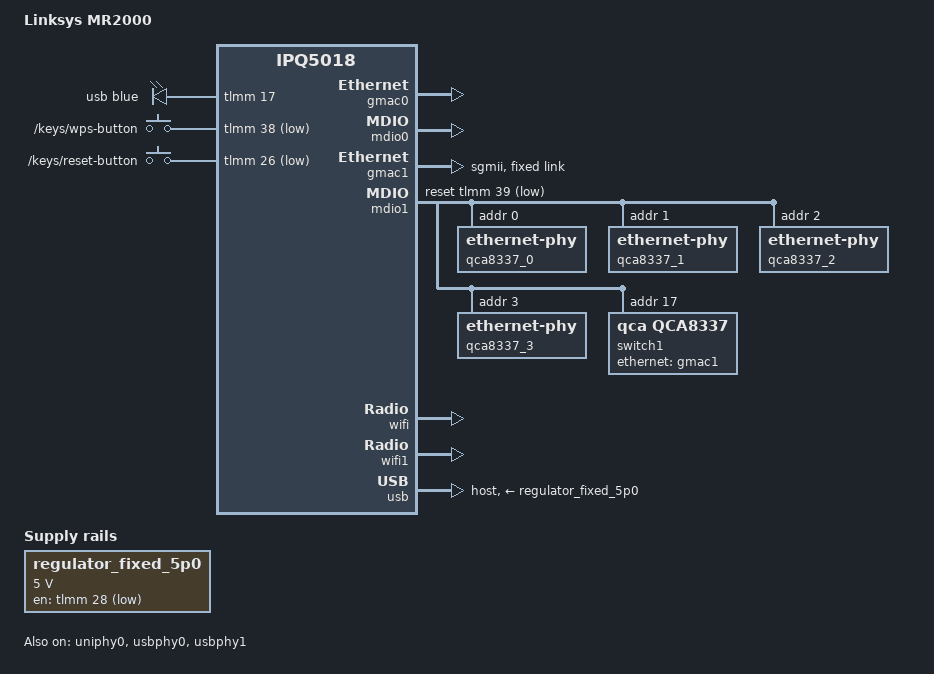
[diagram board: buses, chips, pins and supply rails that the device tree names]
/dts-v1/;

#include "ipq5018.dtsi"
#include "ipq5018-ess.dtsi"
#include "ipq5018-mx-base.dtsi"
#include "ipq5018-qcn6122.dtsi"

/ {
	model = "Linksys MR2000";
	compatible = "linksys,mr2000", "qcom,ipq5018";

	chosen {
		bootargs-append = " root=/dev/ubiblock0_0 coherent_pool=2M";
		stdout-path = "serial0:115200n8";
	};

	gpio-leds {
		compatible = "gpio-leds";

		usb {
			color = <LED_COLOR_ID_BLUE>;
			function = LED_FUNCTION_USB;
			gpios = <&tlmm 17 GPIO_ACTIVE_HIGH>;
			trigger-sources = <&usb_port1>;
			linux,default-trigger = "usbport";
		};
	};

	regulator_fixed_5p0: regulator-s0500 {
		compatible = "regulator-fixed";
		regulator-min-microvolt = <5000000>;
		regulator-max-microvolt = <5000000>;
		regulator-name = "fixed_5p0";
		gpios = <&tlmm 28 GPIO_ACTIVE_LOW>;
	};
};

/*
 * ===============================================================
 *     _______________________         _______________________
 *    |        IPQ5018        |       |        QCA8337        |
 *    | +------+   +--------+ |       | +--------+   +------+ |
 *    | | MAC0 |---| GE Phy | |       | |  Phy0  |---| MAC1 | |
 *    | +------+   +--------+ |       | +--------+   +------+ |
 *    | +------+   +--------+ |       | +--------+   +------+ |
 *    | | MAC1 |---| Uniphy |-+-SGMII-+-| SerDes |---| MAC6 | |
 *    | +------+   +--------+ |       | +--------+   +------+ |
 *    |_______________________|       |_______________________|
 *
 * ===============================================================
 */

&uniphy0 {
	status = "okay";

	assigned-clocks = <&uniphy0 UNIPHY_CLK_REF>;
	assigned-clock-rates = <UNIPHY_REFCLK_25MHZ>;
};

/* WAN: IPQ5018 MAC0 -> internal GE PHY7 */
&gmac0 {
	status = "okay";
	label = "wan";

	nvmem-cells = <&hw_mac_addr 0>;
	nvmem-cell-names = "mac-address";
};

&mdio0 {
	status = "okay";
};

/* LAN: IPQ5018 MAC1 -> SGMII -> QCA8337 port 6 */
&gmac1 {
	status = "okay";
	phy-mode = "sgmii";

	nvmem-cells = <&hw_mac_addr 0>;
	nvmem-cell-names = "mac-address";

	fixed-link {
		speed = <1000>;
		full-duplex;
	};
};

&mdio1 {
	status = "okay";

	pinctrl-0 = <&mdio1_pins>;
	pinctrl-names = "default";
	reset-gpios = <&tlmm 39 GPIO_ACTIVE_LOW>;

	qca8337_0: ethernet-phy@0 {
		reg = <0>;
	};

	qca8337_1: ethernet-phy@1 {
		reg = <1>;
	};

	qca8337_2: ethernet-phy@2 {
		reg = <2>;
	};

	qca8337_3: ethernet-phy@3 {
		reg = <3>;
	};

	switch1: ethernet-switch@17 {
		compatible = "qca,qca8337";
		reg = <17>;
		#address-cells = <1>;
		#size-cells = <0>;

		ethernet-ports {
			#address-cells = <1>;
			#size-cells = <0>;

			ethernet-port@1 {
				reg = <1>;
				label = "lan1";
				phy-handle = <&qca8337_0>;
			};

			ethernet-port@2 {
				reg = <2>;
				label = "lan2";
				phy-handle = <&qca8337_1>;
			};

			ethernet-port@3 {
				reg = <3>;
				label = "lan3";
				phy-handle = <&qca8337_2>;
			};

			ethernet-port@4 {
				reg = <4>;
				label = "lan4";
				phy-handle = <&qca8337_3>;
			};

			ethernet-port@6 {
				reg = <6>;
				label = "cpu";
				phy-mode = "sgmii";
				ethernet = <&gmac1>;
				qca,sgmii-enable-pll;

				fixed-link {
					speed = <1000>;
					full-duplex;
				};
			};
		};
	};
};

&q6v5_wcss {
	/* The QCN6102 radio should map to UPD ID 2. Without       */
	/* bootargs, the firmware will expect it to be on UPD ID 3 */
	boot-args = <
			/*       type:	*/	0x1	/* PCIE0	*/
			/*     length:	*/	4
			/*     UPD ID:	*/	2
			/* reset GPIO:	*/	15
			/*   reserved:	*/	0 0>;
};

&wifi {
	status = "okay";

	qcom,rproc = <&q6_wcss_pd1>;
	qcom,ath11k-calibration-variant = "Linksys-MX2000";
	qcom,ath11k-fw-memory-mode = <1>;
	qcom,bdf-addr = <0x4c400000>;
};

&wifi1 {
	status = "okay";

	qcom,rproc = <&q6_wcss_pd2>;
	qcom,userpd-subsys-name = "q6v5_wcss_userpd2";
	qcom,ath11k-calibration-variant = "Linksys-MX2000";
	qcom,ath11k-fw-memory-mode = <1>;
	qcom,bdf-addr = <0x4d100000>;
	qcom,m3-dump-addr = <0x4df00000>;
};

&{/keys/wps-button} {
	gpios = <&tlmm 38 GPIO_ACTIVE_LOW>;
};

&{/keys/reset-button} {
	gpios = <&tlmm 26 GPIO_ACTIVE_LOW>;
};

&{/leds/green} {
	color = <LED_COLOR_ID_BLUE>;
};

&{/leds/blue} {
	color = <LED_COLOR_ID_GREEN>;
};

&tlmm {
	button_pins: button-state {
		pins = "gpio26", "gpio38";
		function = "gpio";
		drive-strength = <8>;
		bias-pull-up;
	};
};

&usbphy0 {
	status = "okay";
	vdd-supply = <&regulator_fixed_5p0>;
};

&usbphy1 {
	status = "okay";
	vdd-supply = <&regulator_fixed_5p0>;
};

&usb {
	#address-cells = <1>;
	#size-cells = <0>;

	vbus-supply = <&regulator_fixed_5p0>;
	dr_mode = "host";

	status = "okay";

	usb_port1: port@1 {
		reg = <1>;
		#trigger-source-cells = <0>;
	};
};
